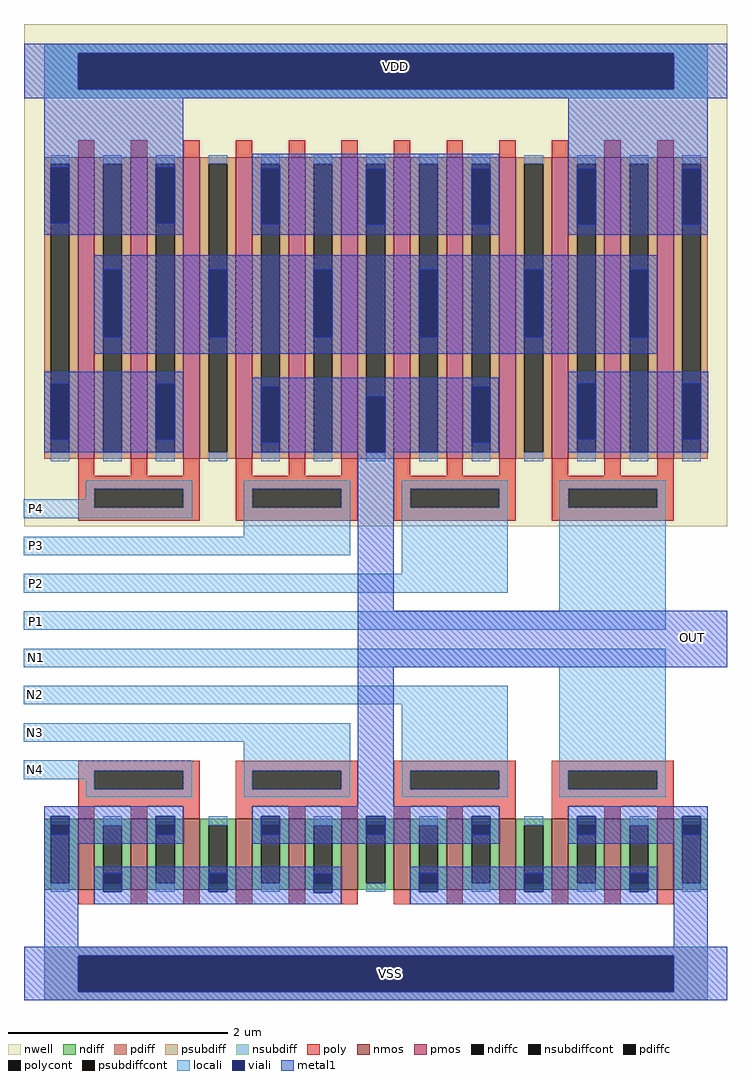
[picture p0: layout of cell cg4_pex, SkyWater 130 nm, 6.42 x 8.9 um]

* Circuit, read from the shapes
.subckt cg4_pex VDD VSS N1 N2 N3 N4 P1 P2 P3 P4 OUT
XM1 n5 N4 VSS VSS sky130_fd_pr__nfet_01v8 w=0.65 l=0.15 m=3
XM2 OUT N3 n5 VSS sky130_fd_pr__nfet_01v8 w=0.65 l=0.15 m=3
XM3 n6 N2 OUT VSS sky130_fd_pr__nfet_01v8 w=0.65 l=0.15 m=3
XM4 VSS N1 n6 VSS sky130_fd_pr__nfet_01v8 w=0.65 l=0.15 m=3
XM5 n7 P4 VDD VDD sky130_fd_pr__pfet_01v8 w=2.75 l=0.15 m=3
XM6 OUT P3 n7 VDD sky130_fd_pr__pfet_01v8 w=2.75 l=0.15 m=3
XM7 n7 P2 OUT VDD sky130_fd_pr__pfet_01v8 w=2.75 l=0.15 m=3
XM8 VDD P1 n7 VDD sky130_fd_pr__pfet_01v8 w=2.75 l=0.15 m=3
.ends

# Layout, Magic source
magic
tech sky130A
magscale 1 2
<< nwell >>
rect 2 6 1284 922
<< nmos >>
rect 100 -657 130 -527
rect 196 -657 226 -527
rect 292 -657 322 -527
rect 388 -657 418 -527
rect 484 -657 514 -527
rect 580 -657 610 -527
rect 676 -657 706 -527
rect 772 -657 802 -527
rect 868 -657 898 -527
rect 964 -657 994 -527
rect 1060 -657 1090 -527
rect 1156 -657 1186 -527
<< pmos >>
rect 100 129 130 679
rect 196 129 226 679
rect 292 129 322 679
rect 388 129 418 679
rect 484 129 514 679
rect 580 129 610 679
rect 676 129 706 679
rect 772 129 802 679
rect 868 129 898 679
rect 964 129 994 679
rect 1060 129 1090 679
rect 1156 129 1186 679
<< ndiff >>
rect 38 -539 100 -527
rect 38 -645 50 -539
rect 84 -645 100 -539
rect 38 -657 100 -645
rect 130 -539 196 -527
rect 130 -645 146 -539
rect 180 -645 196 -539
rect 130 -657 196 -645
rect 226 -539 292 -527
rect 226 -645 242 -539
rect 276 -645 292 -539
rect 226 -657 292 -645
rect 322 -539 388 -527
rect 322 -645 338 -539
rect 372 -645 388 -539
rect 322 -657 388 -645
rect 418 -539 484 -527
rect 418 -645 434 -539
rect 468 -645 484 -539
rect 418 -657 484 -645
rect 514 -539 580 -527
rect 514 -645 530 -539
rect 564 -645 580 -539
rect 514 -657 580 -645
rect 610 -539 676 -527
rect 610 -645 626 -539
rect 660 -645 676 -539
rect 610 -657 676 -645
rect 706 -539 772 -527
rect 706 -645 722 -539
rect 756 -645 772 -539
rect 706 -657 772 -645
rect 802 -539 868 -527
rect 802 -645 818 -539
rect 852 -645 868 -539
rect 802 -657 868 -645
rect 898 -539 964 -527
rect 898 -645 914 -539
rect 948 -645 964 -539
rect 898 -657 964 -645
rect 994 -539 1060 -527
rect 994 -645 1010 -539
rect 1044 -645 1060 -539
rect 994 -657 1060 -645
rect 1090 -539 1156 -527
rect 1090 -645 1106 -539
rect 1140 -645 1156 -539
rect 1090 -657 1156 -645
rect 1186 -539 1248 -527
rect 1186 -645 1202 -539
rect 1236 -645 1248 -539
rect 1186 -657 1248 -645
<< pdiff >>
rect 38 667 100 679
rect 38 141 50 667
rect 84 141 100 667
rect 38 129 100 141
rect 130 667 196 679
rect 130 141 146 667
rect 180 141 196 667
rect 130 129 196 141
rect 226 667 292 679
rect 226 141 242 667
rect 276 141 292 667
rect 226 129 292 141
rect 322 667 388 679
rect 322 141 338 667
rect 372 141 388 667
rect 322 129 388 141
rect 418 667 484 679
rect 418 141 434 667
rect 468 141 484 667
rect 418 129 484 141
rect 514 667 580 679
rect 514 141 530 667
rect 564 141 580 667
rect 514 129 580 141
rect 610 667 676 679
rect 610 141 626 667
rect 660 141 676 667
rect 610 129 676 141
rect 706 667 772 679
rect 706 141 722 667
rect 756 141 772 667
rect 706 129 772 141
rect 802 667 868 679
rect 802 141 818 667
rect 852 141 868 667
rect 802 129 868 141
rect 898 667 964 679
rect 898 141 914 667
rect 948 141 964 667
rect 898 129 964 141
rect 994 667 1060 679
rect 994 141 1010 667
rect 1044 141 1060 667
rect 994 129 1060 141
rect 1090 667 1156 679
rect 1090 141 1106 667
rect 1140 141 1156 667
rect 1090 129 1156 141
rect 1186 667 1248 679
rect 1186 141 1202 667
rect 1236 141 1248 667
rect 1186 129 1248 141
<< ndiffc >>
rect 50 -645 84 -539
rect 146 -645 180 -539
rect 242 -645 276 -539
rect 338 -645 372 -539
rect 434 -645 468 -539
rect 530 -645 564 -539
rect 626 -645 660 -539
rect 722 -645 756 -539
rect 818 -645 852 -539
rect 914 -645 948 -539
rect 1010 -645 1044 -539
rect 1106 -645 1140 -539
rect 1202 -645 1236 -539
<< pdiffc >>
rect 50 141 84 667
rect 146 141 180 667
rect 242 141 276 667
rect 338 141 372 667
rect 434 141 468 667
rect 530 141 564 667
rect 626 141 660 667
rect 722 141 756 667
rect 818 141 852 667
rect 914 141 948 667
rect 1010 141 1044 667
rect 1106 141 1140 667
rect 1202 141 1236 667
<< psubdiff >>
rect 38 -777 1248 -761
rect 38 -843 100 -777
rect 1186 -843 1248 -777
rect 38 -858 1248 -843
<< nsubdiff >>
rect 38 869 1248 886
rect 38 803 100 869
rect 1186 803 1248 869
rect 38 787 1248 803
<< psubdiffcont >>
rect 100 -843 1186 -777
<< nsubdiffcont >>
rect 100 803 1186 869
<< poly >>
rect 100 679 130 710
rect 196 679 226 710
rect 292 679 322 710
rect 388 679 418 710
rect 484 679 514 710
rect 580 679 610 710
rect 676 679 706 710
rect 772 679 802 710
rect 868 679 898 710
rect 964 679 994 710
rect 1060 679 1090 710
rect 1156 679 1186 710
rect 100 98 130 129
rect 196 98 226 129
rect 292 98 322 129
rect 100 74 322 98
rect 100 40 130 74
rect 292 40 322 74
rect 100 16 322 40
rect 388 98 418 129
rect 484 98 514 129
rect 580 98 610 129
rect 388 74 610 98
rect 388 40 418 74
rect 580 40 610 74
rect 388 16 610 40
rect 676 98 706 129
rect 772 98 802 129
rect 868 98 898 129
rect 676 74 898 98
rect 676 40 706 74
rect 868 40 898 74
rect 676 16 898 40
rect 964 98 994 129
rect 1060 98 1090 129
rect 1156 98 1186 129
rect 964 74 1186 98
rect 964 40 994 74
rect 1156 40 1186 74
rect 964 16 1186 40
rect 100 -440 322 -422
rect 100 -474 130 -440
rect 292 -474 322 -440
rect 100 -505 322 -474
rect 100 -527 130 -505
rect 196 -527 226 -505
rect 292 -527 322 -505
rect 388 -440 610 -422
rect 388 -474 418 -440
rect 580 -474 610 -440
rect 388 -505 610 -474
rect 388 -527 418 -505
rect 484 -527 514 -505
rect 580 -527 610 -505
rect 676 -440 898 -422
rect 676 -474 706 -440
rect 868 -474 898 -440
rect 676 -505 898 -474
rect 676 -527 706 -505
rect 772 -527 802 -505
rect 868 -527 898 -505
rect 964 -440 1186 -422
rect 964 -474 994 -440
rect 1156 -474 1186 -440
rect 964 -505 1186 -474
rect 964 -527 994 -505
rect 1060 -527 1090 -505
rect 1156 -527 1186 -505
rect 100 -683 130 -657
rect 196 -683 226 -657
rect 292 -683 322 -657
rect 388 -683 418 -657
rect 484 -683 514 -657
rect 580 -683 610 -657
rect 676 -683 706 -657
rect 772 -683 802 -657
rect 868 -683 898 -657
rect 964 -683 994 -657
rect 1060 -683 1090 -657
rect 1156 -683 1186 -657
<< polycont >>
rect 130 40 292 74
rect 418 40 580 74
rect 706 40 868 74
rect 994 40 1156 74
rect 130 -474 292 -440
rect 418 -474 580 -440
rect 706 -474 868 -440
rect 994 -474 1156 -440
<< locali >>
rect 38 869 1248 886
rect 38 803 100 869
rect 1186 803 1248 869
rect 38 787 1248 803
rect 50 667 84 683
rect 50 125 84 141
rect 146 667 180 683
rect 146 125 180 141
rect 242 667 276 683
rect 242 125 276 141
rect 338 667 372 683
rect 338 125 372 141
rect 434 667 468 683
rect 434 125 468 141
rect 530 667 564 683
rect 530 125 564 141
rect 626 667 660 683
rect 626 125 660 141
rect 722 667 756 683
rect 722 125 756 141
rect 818 667 852 683
rect 818 125 852 141
rect 914 667 948 683
rect 914 125 948 141
rect 1010 667 1044 683
rect 1010 125 1044 141
rect 1106 667 1140 683
rect 1106 125 1140 141
rect 1202 667 1236 683
rect 1202 125 1236 141
rect 114 74 308 90
rect 114 55 130 74
rect 1 40 130 55
rect 292 40 308 74
rect 1 21 308 40
rect 402 74 596 90
rect 402 40 418 74
rect 580 40 596 74
rect 402 -13 596 40
rect 1 -47 596 -13
rect 690 74 884 90
rect 690 40 706 74
rect 868 40 884 74
rect 690 -81 884 40
rect 1 -115 884 -81
rect 978 74 1172 90
rect 978 40 994 74
rect 1156 40 1172 74
rect 978 -149 1172 40
rect 1 -183 1172 -149
rect 1 -251 1172 -217
rect 1 -319 884 -285
rect 1 -387 596 -353
rect 1 -440 308 -421
rect 1 -455 130 -440
rect 114 -474 130 -455
rect 292 -474 308 -440
rect 114 -488 308 -474
rect 402 -440 596 -387
rect 402 -474 418 -440
rect 580 -474 596 -440
rect 402 -488 596 -474
rect 690 -440 884 -319
rect 690 -474 706 -440
rect 868 -474 884 -440
rect 690 -488 884 -474
rect 978 -440 1172 -251
rect 978 -474 994 -440
rect 1156 -474 1172 -440
rect 978 -488 1172 -474
rect 50 -661 84 -645
rect 146 -539 180 -523
rect 242 -661 276 -645
rect 338 -539 372 -523
rect 434 -661 468 -645
rect 530 -539 564 -523
rect 626 -661 660 -645
rect 722 -539 756 -523
rect 818 -661 852 -645
rect 914 -539 948 -523
rect 1010 -661 1044 -645
rect 1106 -539 1140 -523
rect 1202 -661 1236 -645
rect 38 -777 1248 -761
rect 38 -843 100 -777
rect 1186 -843 1248 -777
rect 38 -858 1248 -843
<< viali >>
rect 100 803 1186 869
rect 50 559 84 661
rect 50 164 84 266
rect 146 351 180 475
rect 242 559 276 661
rect 242 164 276 266
rect 338 351 372 475
rect 434 557 468 659
rect 434 158 468 260
rect 530 351 564 475
rect 626 556 660 658
rect 626 141 660 243
rect 722 351 756 475
rect 818 556 852 658
rect 818 158 852 260
rect 914 351 948 475
rect 1010 556 1044 658
rect 1010 165 1044 267
rect 1106 350 1140 474
rect 1202 556 1236 658
rect 1202 165 1236 267
rect 50 -539 84 -523
rect 50 -557 84 -539
rect 146 -645 180 -627
rect 146 -661 180 -645
rect 242 -539 276 -523
rect 242 -557 276 -539
rect 338 -645 372 -627
rect 338 -661 372 -645
rect 434 -539 468 -523
rect 434 -557 468 -539
rect 530 -645 564 -628
rect 530 -662 564 -645
rect 626 -539 660 -523
rect 626 -557 660 -539
rect 722 -645 756 -627
rect 722 -661 756 -645
rect 818 -539 852 -523
rect 818 -557 852 -539
rect 914 -645 948 -627
rect 914 -661 948 -645
rect 1010 -539 1044 -523
rect 1010 -557 1044 -539
rect 1106 -645 1140 -627
rect 1106 -661 1140 -645
rect 1202 -539 1236 -523
rect 1202 -557 1236 -539
rect 100 -843 1186 -777
<< metal1 >>
rect 2 869 1284 886
rect 2 803 100 869
rect 1186 803 1284 869
rect 2 787 1284 803
rect 38 661 292 787
rect 38 559 50 661
rect 84 559 242 661
rect 276 559 292 661
rect 38 538 292 559
rect 418 659 868 685
rect 418 557 434 659
rect 468 658 868 659
rect 468 557 626 658
rect 418 556 626 557
rect 660 556 818 658
rect 852 556 868 658
rect 418 538 868 556
rect 994 658 1248 787
rect 994 556 1010 658
rect 1044 556 1202 658
rect 1236 556 1248 658
rect 994 538 1248 556
rect 130 475 1156 500
rect 130 351 146 475
rect 180 351 338 475
rect 372 351 530 475
rect 564 351 722 475
rect 756 351 914 475
rect 948 474 1156 475
rect 948 351 1106 474
rect 130 350 1106 351
rect 1140 350 1156 474
rect 130 321 1156 350
rect 38 266 292 288
rect 38 164 50 266
rect 84 164 242 266
rect 276 164 292 266
rect 38 141 292 164
rect 418 260 867 277
rect 418 158 434 260
rect 468 243 818 260
rect 468 158 626 243
rect 418 141 626 158
rect 660 158 818 243
rect 852 158 867 260
rect 660 141 867 158
rect 994 267 1249 288
rect 994 165 1010 267
rect 1044 165 1202 267
rect 1236 165 1249 267
rect 994 141 1249 165
rect 610 -148 676 141
rect 610 -251 1284 -148
rect 610 -505 676 -251
rect 38 -523 292 -505
rect 38 -557 50 -523
rect 84 -557 242 -523
rect 276 -557 292 -523
rect 38 -573 292 -557
rect 418 -523 868 -505
rect 418 -557 434 -523
rect 468 -557 626 -523
rect 660 -557 818 -523
rect 852 -557 868 -523
rect 418 -573 868 -557
rect 994 -523 1248 -505
rect 994 -557 1010 -523
rect 1044 -557 1202 -523
rect 1236 -557 1248 -523
rect 994 -573 1248 -557
rect 38 -761 100 -573
rect 130 -627 580 -615
rect 130 -661 146 -627
rect 180 -661 338 -627
rect 372 -628 580 -627
rect 372 -661 530 -628
rect 130 -662 530 -661
rect 564 -662 580 -628
rect 130 -683 580 -662
rect 706 -627 1156 -615
rect 706 -661 722 -627
rect 756 -661 914 -627
rect 948 -661 1106 -627
rect 1140 -661 1156 -627
rect 706 -683 1156 -661
rect 1186 -761 1248 -573
rect 2 -777 1284 -761
rect 2 -843 100 -777
rect 1186 -843 1284 -777
rect 2 -858 1284 -843
<< labels >>
flabel metal1 602 818 756 870 1 FreeSerif 80 0 0 0 VDD
port 1 n
flabel metal1 592 -835 746 -783 1 FreeSerif 80 0 0 0 VSS
port 2 n
flabel locali 13 -243 34 -223 1 FreeSerif 80 0 0 0 N1
port 3 n
flabel locali 12 -311 33 -291 1 FreeSerif 80 0 0 0 N2
port 4 n
flabel locali 12 -380 33 -360 1 FreeSerif 80 0 0 0 N3
port 5 n
flabel locali 12 -448 33 -428 1 FreeSerif 80 0 0 0 N4
port 6 n
flabel locali 13 -177 34 -157 1 FreeSerif 80 0 0 0 P1
port 7 n
flabel locali 13 -108 34 -88 1 FreeSerif 80 0 0 0 P2
port 8 n
flabel locali 13 -39 34 -19 1 FreeSerif 80 0 0 0 P3
port 9 n
flabel locali 13 28 34 48 1 FreeSerif 80 0 0 0 P4
port 10 n
flabel metal1 1183 -228 1257 -164 1 FreeSerif 80 0 0 0 OUT
port 11 n
<< end >>
